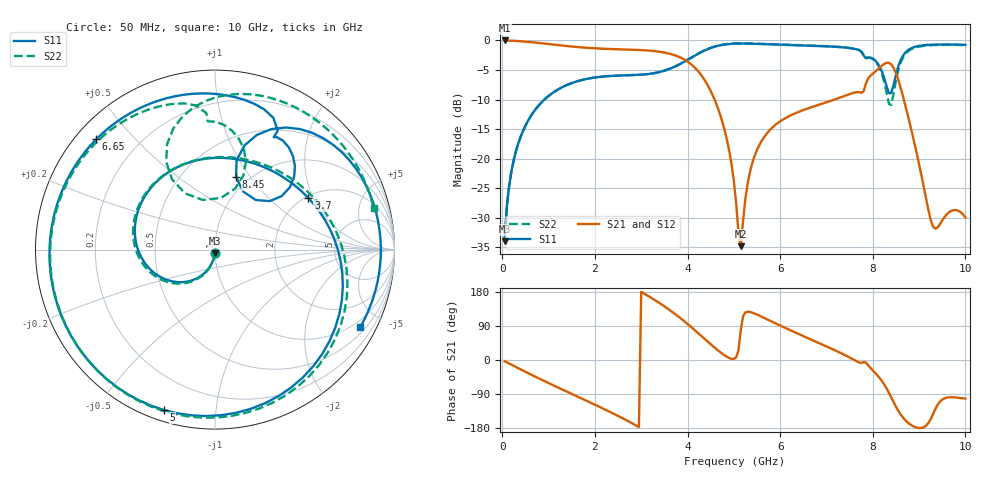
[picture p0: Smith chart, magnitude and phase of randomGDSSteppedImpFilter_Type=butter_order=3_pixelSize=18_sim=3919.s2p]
! freq	dB(S11)	phase(S11)	dB(S12)	phase(S12)
!  dB(S21)	phase(S21)	dB(S22)	phase(S22)
!S-par simulation data
#  GHz  S  DB  R 50
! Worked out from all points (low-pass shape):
!   200 points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, 50 MHz to 10 GHz, reference 50 ohm
!   highest |S21| = 0.00 dB at 50 MHz (marker M1); lowest = -34.8 dB at 5.15 GHz (marker M2)
!   |S21| within 3 dB of the highest: start of sweep to 3.875 GHz
!   lowest |S11| = -34.0 dB at 50 MHz (marker M3), VSWR 1.04, Z = 49.8 - j1.99 ohm
!   |S11| at or under -10 dB: start of sweep to 911.1 MHz
!   |S22| runs from -34.0 to -0.5 dB; largest |S21 - S12| = 0
!   S11 on the Smith chart (normalised r, x): 50 MHz: 1.00, -0.04; 3.7 GHz: 2.07, +1.84; 5 GHz: 0.05, -0.73; 6.65 GHz: 0.06, +0.39; 8.45 GHz: 0.87, +0.86; 10 GHz: 0.71, -3.86
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0.05  -34.00 -93.3  -0.00 -3.2  -0.00 -3.2  -33.99 -93.1
0.2  -22.03 -103.2  -0.05 -12.6  -0.05 -12.6  -22.03 -102.5
0.5  -14.43 -122.4  -0.20 -31.1  -0.20 -31.1  -14.44 -120.9
1.75  -6.64 163.0  -1.21 -103.7  -1.21 -103.7  -6.64 168.6
2.7  -5.90 105.0  -1.55 -160.2  -1.55 -160.2  -5.90 113.7
3.4  -5.33 54.6  -1.92 149.8  -1.92 149.8  -5.34 63.8
3.7  -4.52 28.9  -2.44 124.2  -2.44 124.2  -4.53 37.7
4.35  -1.76 -38.5  -6.48 57.7  -6.48 57.7  -1.76 -30.9
5  -0.55 -107.7  -23.78 2.6  -23.78 2.6  -0.53 -98.4
5.05  -0.54 -112.3  -27.51 7.2  -27.51 7.2  -0.51 -102.7
5.15  -0.53 -121.2  -34.82 79.2  -34.82 79.2  -0.50 -111.1
5.3  -0.54 -133.8  -24.12 127.3  -24.12 127.3  -0.51 -122.8
5.55  -0.60 -153.0  -17.72 117.1  -17.72 117.1  -0.56 -140.3
6.65  -0.89 137.1  -11.37 55.0  -11.37 55.0  -0.85 158.9
6.7  -0.90 134.1  -11.24 52.3  -11.24 52.3  -0.87 156.4
7.7  -1.64 70.7  -8.75 -6.2  -8.75 -6.2  -1.60 101.9
8.1  -3.83 46.2  -4.95 -40.6  -4.95 -40.6  -4.00 77.8
8.35  -8.93 50.6  -3.80 -86.8  -3.80 -86.8  -10.74 83.3
8.45  -7.52 73.8  -4.64 -111.2  -4.64 -111.2  -9.01 118.0
8.75  -1.71 54.9  -12.46 -164.4  -12.46 -164.4  -1.93 98.7
9.3  -0.71 13.1  -31.49 -143.2  -31.49 -143.2  -0.79 57.1
10  -0.75 -28.2  -29.95 -101.9  -29.95 -101.9  -0.78 14.7
